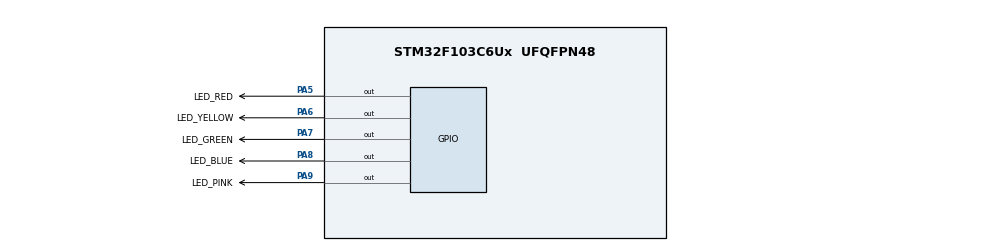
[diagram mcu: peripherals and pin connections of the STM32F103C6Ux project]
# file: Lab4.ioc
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Mcu.Family=STM32F1
Mcu.Name=STM32F103C6Ux
Mcu.Package=UFQFPN48
NVIC.PriorityGroup=NVIC_PRIORITYGROUP_4
NVIC.TIM2_IRQn=true\:0\:0\:false\:false\:true\:true\:true
PA5.GPIO_Label=LED_RED
PA5.Signal=GPIO_Output
PA6.GPIO_Label=LED_YELLOW
PA6.Signal=GPIO_Output
PA7.GPIO_Label=LED_GREEN
PA7.Signal=GPIO_Output
PA8.GPIO_Label=LED_BLUE
PA8.Signal=GPIO_Output
PA9.GPIO_Label=LED_PINK
PA9.Signal=GPIO_Output
ProjectManager.HeapSize=0x200
ProjectManager.StackSize=0x400
ProjectManager.TargetToolchain=STM32CubeIDE
RCC.APB1Freq_Value=8000000
RCC.APB2Freq_Value=8000000
TIM2.Period=9
TIM2.Prescaler=7999
VP_SYS_VS_ND.Mode=No_Debug
VP_TIM2_VS_ClockSourceINT.Mode=Internal
board=custom

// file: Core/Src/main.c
/* USER CODE BEGIN Header */
/**
  ******************************************************************************
  * @file           : main.c
  * @brief          : Main program body
  ******************************************************************************
  * @attention
  *
  * <h2><center>&copy; Copyright (c) 2022 STMicroelectronics.
  * All rights reserved.</center></h2>
  *
  * This software component is licensed by ST under BSD 3-Clause license,
  * the "License"; You may not use this file except in compliance with the
  * License. You may obtain a copy of the License at:
  *                        opensource.org/licenses/BSD-3-Clause
  *
  ******************************************************************************
  */
/* USER CODE END Header */
#include "main.h"

/* USER CODE BEGIN Includes */
#include "scheduler.h"
#include "task.h"
/* USER CODE END Includes */

TIM_HandleTypeDef htim2;

void SystemClock_Config(void);
static void MX_GPIO_Init(void);
static void MX_TIM2_Init(void);

/* USER CODE BEGIN 0 */
void led1test() {
	HAL_GPIO_TogglePin(LED_RED_GPIO_Port, LED_RED_Pin);
}
/* USER CODE END 0 */

int main(void)
{

  /* MCU Configuration--------------------------------------------------------*/

  /* Reset of all peripherals, Initializes the Flash interface and the Systick. */
  HAL_Init();

  /* Configure the system clock */
  SystemClock_Config();

  /* Initialize all configured peripherals */
  MX_GPIO_Init();
  MX_TIM2_Init();
  /* USER CODE BEGIN 2 */
  HAL_TIM_Base_Start_IT(&htim2);

  /* USER CODE END 2 */

  /* Infinite loop */
  /* USER CODE BEGIN WHILE */
  	initLED();
  	SCH_Init();
    SCH_Add_Task(task1, 0, 500);
    SCH_Add_Task(task2, 0, 1000);
    SCH_Add_Task(task3, 0, 1500);
	SCH_Add_Task(task4, 0, 2000);
	// one shot task
    SCH_Add_Task(task5, 1000, 0);
  while (1)
  {
	  SCH_Dispatch_Tasks();
    /* USER CODE END WHILE */

  }
}

void SystemClock_Config(void)
{
  RCC_OscInitTypeDef RCC_OscInitStruct = {0};
  RCC_ClkInitTypeDef RCC_ClkInitStruct = {0};

  /** Initializes the RCC Oscillators according to the specified parameters
  * in the RCC_OscInitTypeDef structure.
  */
  RCC_OscInitStruct.OscillatorType = RCC_OSCILLATORTYPE_HSI;
  RCC_OscInitStruct.HSIState = RCC_HSI_ON;
  RCC_OscInitStruct.HSICalibrationValue = RCC_HSICALIBRATION_DEFAULT;
  RCC_OscInitStruct.PLL.PLLState = RCC_PLL_NONE;
  if (HAL_RCC_OscConfig(&RCC_OscInitStruct) != HAL_OK)
  {
    Error_Handler();
  }
  /** Initializes the CPU, AHB and APB buses clocks
  */
  RCC_ClkInitStruct.ClockType = RCC_CLOCKTYPE_HCLK|RCC_CLOCKTYPE_SYSCLK
                              |RCC_CLOCKTYPE_PCLK1|RCC_CLOCKTYPE_PCLK2;
  RCC_ClkInitStruct.SYSCLKSource = RCC_SYSCLKSOURCE_HSI;
  RCC_ClkInitStruct.AHBCLKDivider = RCC_SYSCLK_DIV1;
  RCC_ClkInitStruct.APB1CLKDivider = RCC_HCLK_DIV1;
  RCC_ClkInitStruct.APB2CLKDivider = RCC_HCLK_DIV1;

  if (HAL_RCC_ClockConfig(&RCC_ClkInitStruct, FLASH_LATENCY_0) != HAL_OK)
  {
    Error_Handler();
  }
}

static void MX_TIM2_Init(void)
{

  TIM_ClockConfigTypeDef sClockSourceConfig = {0};
  TIM_MasterConfigTypeDef sMasterConfig = {0};

  htim2.Instance = TIM2;
  htim2.Init.Prescaler = 7999;
  htim2.Init.CounterMode = TIM_COUNTERMODE_UP;
  htim2.Init.Period = 9;
  htim2.Init.ClockDivision = TIM_CLOCKDIVISION_DIV1;
  htim2.Init.AutoReloadPreload = TIM_AUTORELOAD_PRELOAD_DISABLE;
  if (HAL_TIM_Base_Init(&htim2) != HAL_OK)
  {
    Error_Handler();
  }
  sClockSourceConfig.ClockSource = TIM_CLOCKSOURCE_INTERNAL;
  if (HAL_TIM_ConfigClockSource(&htim2, &sClockSourceConfig) != HAL_OK)
  {
    Error_Handler();
  }
  sMasterConfig.MasterOutputTrigger = TIM_TRGO_RESET;
  sMasterConfig.MasterSlaveMode = TIM_MASTERSLAVEMODE_DISABLE;
  if (HAL_TIMEx_MasterConfigSynchronization(&htim2, &sMasterConfig) != HAL_OK)
  {
    Error_Handler();
  }

}

static void MX_GPIO_Init(void)
{
  GPIO_InitTypeDef GPIO_InitStruct = {0};

  /* GPIO Ports Clock Enable */
  __HAL_RCC_GPIOA_CLK_ENABLE();

  /*Configure GPIO pin Output Level */
  HAL_GPIO_WritePin(GPIOA, LED_RED_Pin|LED_YELLOW_Pin|LED_GREEN_Pin|LED_BLUE_Pin
                          |LED_PINK_Pin, GPIO_PIN_RESET);

  /*Configure GPIO pins : LED_RED_Pin LED_YELLOW_Pin LED_GREEN_Pin LED_BLUE_Pin
                           LED_PINK_Pin */
  GPIO_InitStruct.Pin = LED_RED_Pin|LED_YELLOW_Pin|LED_GREEN_Pin|LED_BLUE_Pin
                          |LED_PINK_Pin;
  GPIO_InitStruct.Mode = GPIO_MODE_OUTPUT_PP;
  GPIO_InitStruct.Pull = GPIO_NOPULL;
  GPIO_InitStruct.Speed = GPIO_SPEED_FREQ_LOW;
  HAL_GPIO_Init(GPIOA, &GPIO_InitStruct);

}

/* USER CODE BEGIN 4 */
void HAL_TIM_PeriodElapsedCallback(TIM_HandleTypeDef *htim) {
	SCH_Update();
}
/* USER CODE END 4 */

void Error_Handler(void)
{
  __disable_irq();
  while (1)
  {
  }
}

/************************ (C) COPYRIGHT STMicroelectronics *****END OF FILE****/
